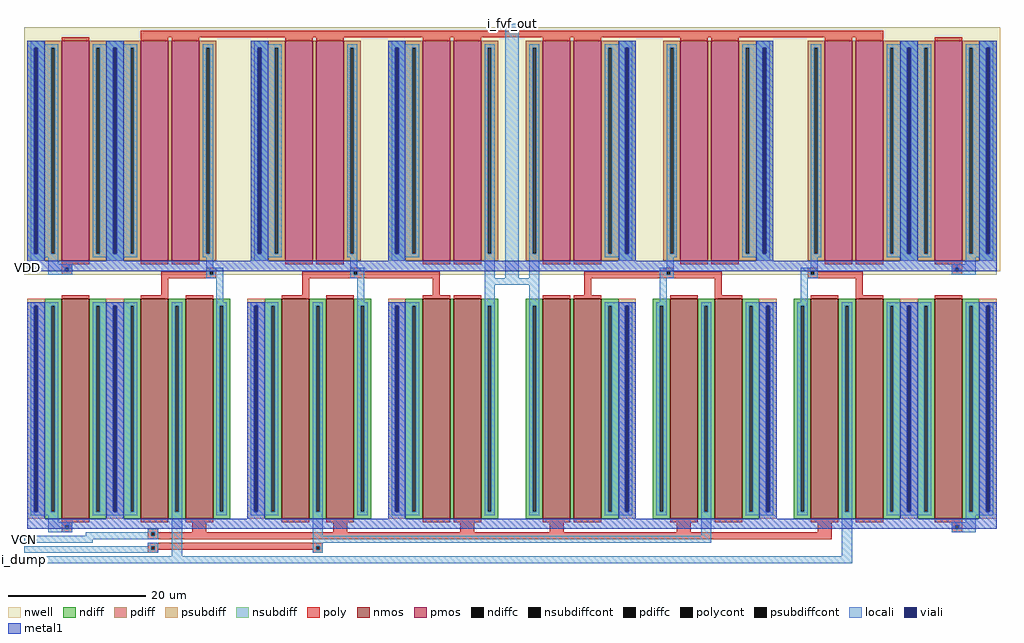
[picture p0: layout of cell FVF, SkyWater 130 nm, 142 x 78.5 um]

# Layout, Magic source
magic
tech sky130A
<< nwell >>
rect -650 -200 13550 3350
rect -650 -250 13500 -200
<< nmos >>
rect -100 -3800 300 -600
rect 1050 -3800 1450 -600
rect 1700 -3800 2100 -600
rect 3100 -3800 3500 -600
rect 3750 -3800 4150 -600
rect 5150 -3800 5550 -600
rect 5600 -3800 6000 -600
rect 6900 -3800 7300 -600
rect 7350 -3800 7750 -600
rect 8750 -3800 9150 -600
rect 9400 -3800 9800 -600
rect 10800 -3800 11200 -600
rect 11450 -3800 11850 -600
rect 12600 -3800 13000 -600
<< pmos >>
rect -100 -50 300 3150
rect 1050 -50 1450 3150
rect 1500 -50 1900 3150
rect 3150 -50 3550 3150
rect 3600 -50 4000 3150
rect 5150 -50 5550 3150
rect 5600 -50 6000 3150
rect 6900 -50 7300 3150
rect 7350 -50 7750 3150
rect 8900 -50 9300 3150
rect 9350 -50 9750 3150
rect 11000 -50 11400 3150
rect 11450 -50 11850 3150
rect 12600 -50 13000 3150
<< ndiff >>
rect -350 -700 -100 -600
rect -350 -3700 -250 -700
rect -200 -3700 -100 -700
rect -350 -3800 -100 -3700
rect 300 -700 550 -600
rect 800 -700 1050 -600
rect 300 -3700 400 -700
rect 450 -3700 550 -700
rect 800 -3700 900 -700
rect 950 -3700 1050 -700
rect 300 -3800 550 -3700
rect 800 -3800 1050 -3700
rect 1450 -700 1700 -600
rect 1450 -3700 1550 -700
rect 1600 -3700 1700 -700
rect 1450 -3800 1700 -3700
rect 2100 -700 2350 -600
rect 2100 -3700 2200 -700
rect 2250 -3700 2350 -700
rect 2100 -3800 2350 -3700
rect 2850 -700 3100 -600
rect 2850 -3700 2950 -700
rect 3000 -3700 3100 -700
rect 2850 -3800 3100 -3700
rect 3500 -700 3750 -600
rect 3500 -3700 3600 -700
rect 3650 -3700 3750 -700
rect 3500 -3800 3750 -3700
rect 4150 -700 4400 -600
rect 4150 -3700 4250 -700
rect 4300 -3700 4400 -700
rect 4150 -3800 4400 -3700
rect 4900 -700 5150 -600
rect 4900 -3700 5000 -700
rect 5050 -3700 5150 -700
rect 4900 -3800 5150 -3700
rect 5550 -3800 5600 -600
rect 6000 -700 6250 -600
rect 6000 -3700 6100 -700
rect 6150 -3700 6250 -700
rect 6000 -3800 6250 -3700
rect 6650 -700 6900 -600
rect 6650 -3700 6750 -700
rect 6800 -3700 6900 -700
rect 6650 -3800 6900 -3700
rect 7300 -3800 7350 -600
rect 7750 -700 8000 -600
rect 7750 -3700 7850 -700
rect 7900 -3700 8000 -700
rect 7750 -3800 8000 -3700
rect 8500 -700 8750 -600
rect 8500 -3700 8600 -700
rect 8650 -3700 8750 -700
rect 8500 -3800 8750 -3700
rect 9150 -700 9400 -600
rect 9150 -3700 9250 -700
rect 9300 -3700 9400 -700
rect 9150 -3800 9400 -3700
rect 9800 -700 10050 -600
rect 9800 -3700 9900 -700
rect 9950 -3700 10050 -700
rect 9800 -3800 10050 -3700
rect 10550 -700 10800 -600
rect 10550 -3700 10650 -700
rect 10700 -3700 10800 -700
rect 10550 -3800 10800 -3700
rect 11200 -700 11450 -600
rect 11200 -3700 11300 -700
rect 11350 -3700 11450 -700
rect 11200 -3800 11450 -3700
rect 11850 -700 12100 -600
rect 12350 -700 12600 -600
rect 11850 -3700 11950 -700
rect 12000 -3700 12100 -700
rect 12350 -3700 12450 -700
rect 12500 -3700 12600 -700
rect 11850 -3800 12100 -3700
rect 12350 -3800 12600 -3700
rect 13000 -700 13250 -600
rect 13000 -3700 13100 -700
rect 13150 -3700 13250 -700
rect 13000 -3800 13250 -3700
<< pdiff >>
rect -350 3050 -100 3150
rect -350 50 -250 3050
rect -200 50 -100 3050
rect -350 -50 -100 50
rect 300 3050 550 3150
rect 800 3050 1050 3150
rect 300 50 400 3050
rect 450 50 550 3050
rect 800 50 900 3050
rect 950 50 1050 3050
rect 300 -50 550 50
rect 800 -50 1050 50
rect 1450 -50 1500 3150
rect 1900 3050 2150 3150
rect 1900 50 2000 3050
rect 2050 50 2150 3050
rect 1900 -50 2150 50
rect 2900 3050 3150 3150
rect 2900 50 3000 3050
rect 3050 50 3150 3050
rect 2900 -50 3150 50
rect 3550 -50 3600 3150
rect 4000 3050 4250 3150
rect 4000 50 4100 3050
rect 4150 50 4250 3050
rect 4000 -50 4250 50
rect 4900 3050 5150 3150
rect 4900 50 5000 3050
rect 5050 50 5150 3050
rect 4900 -50 5150 50
rect 5550 -50 5600 3150
rect 6000 3050 6250 3150
rect 6000 50 6100 3050
rect 6150 50 6250 3050
rect 6000 -50 6250 50
rect 6650 3050 6900 3150
rect 6650 50 6750 3050
rect 6800 50 6900 3050
rect 6650 -50 6900 50
rect 7300 -50 7350 3150
rect 7750 3050 8000 3150
rect 7750 50 7850 3050
rect 7900 50 8000 3050
rect 7750 -50 8000 50
rect 8650 3050 8900 3150
rect 8650 50 8750 3050
rect 8800 50 8900 3050
rect 8650 -50 8900 50
rect 9300 -50 9350 3150
rect 9750 3050 10000 3150
rect 9750 50 9850 3050
rect 9900 50 10000 3050
rect 9750 -50 10000 50
rect 10750 3050 11000 3150
rect 10750 50 10850 3050
rect 10900 50 11000 3050
rect 10750 -50 11000 50
rect 11400 -50 11450 3150
rect 11850 3050 12100 3150
rect 12350 3050 12600 3150
rect 11850 50 11950 3050
rect 12000 50 12100 3050
rect 12350 50 12450 3050
rect 12500 50 12600 3050
rect 11850 -50 12100 50
rect 12350 -50 12600 50
rect 13000 3050 13250 3150
rect 13000 50 13100 3050
rect 13150 50 13250 3050
rect 13000 -50 13250 50
<< ndiffc >>
rect -250 -3700 -200 -700
rect 400 -3700 450 -700
rect 900 -3700 950 -700
rect 1550 -3700 1600 -700
rect 2200 -3700 2250 -700
rect 2950 -3700 3000 -700
rect 3600 -3700 3650 -700
rect 4250 -3700 4300 -700
rect 5000 -3700 5050 -700
rect 6100 -3700 6150 -700
rect 6750 -3700 6800 -700
rect 7850 -3700 7900 -700
rect 8600 -3700 8650 -700
rect 9250 -3700 9300 -700
rect 9900 -3700 9950 -700
rect 10650 -3700 10700 -700
rect 11300 -3700 11350 -700
rect 11950 -3700 12000 -700
rect 12450 -3700 12500 -700
rect 13100 -3700 13150 -700
<< pdiffc >>
rect -250 50 -200 3050
rect 400 50 450 3050
rect 900 50 950 3050
rect 2000 50 2050 3050
rect 3000 50 3050 3050
rect 4100 50 4150 3050
rect 5000 50 5050 3050
rect 6100 50 6150 3050
rect 6750 50 6800 3050
rect 7850 50 7900 3050
rect 8750 50 8800 3050
rect 9850 50 9900 3050
rect 10850 50 10900 3050
rect 11950 50 12000 3050
rect 12450 50 12500 3050
rect 13100 50 13150 3050
<< psubdiff >>
rect -600 -700 -350 -600
rect -600 -3700 -500 -700
rect -450 -3700 -350 -700
rect -600 -3800 -350 -3700
rect 550 -700 800 -600
rect 550 -3700 650 -700
rect 700 -3700 800 -700
rect 550 -3800 800 -3700
rect 2600 -700 2850 -600
rect 2600 -3700 2700 -700
rect 2750 -3700 2850 -700
rect 2600 -3800 2850 -3700
rect 4650 -700 4900 -600
rect 4650 -3700 4750 -700
rect 4800 -3700 4900 -700
rect 4650 -3800 4900 -3700
rect 8000 -700 8250 -600
rect 8000 -3700 8100 -700
rect 8150 -3700 8250 -700
rect 8000 -3800 8250 -3700
rect 10050 -700 10300 -600
rect 10050 -3700 10150 -700
rect 10200 -3700 10300 -700
rect 10050 -3800 10300 -3700
rect 12100 -700 12350 -600
rect 12100 -3700 12200 -700
rect 12250 -3700 12350 -700
rect 12100 -3800 12350 -3700
rect 13250 -700 13500 -600
rect 13250 -3700 13350 -700
rect 13400 -3700 13500 -700
rect 13250 -3800 13500 -3700
<< nsubdiff >>
rect -600 3050 -350 3150
rect -600 50 -500 3050
rect -450 50 -350 3050
rect -600 -50 -350 50
rect 550 3050 800 3150
rect 550 50 650 3050
rect 700 50 800 3050
rect 550 -50 800 50
rect 2650 3050 2900 3150
rect 2650 50 2750 3050
rect 2800 50 2900 3050
rect 2650 -50 2900 50
rect 4650 3050 4900 3150
rect 4650 50 4750 3050
rect 4800 50 4900 3050
rect 4650 -50 4900 50
rect 8000 3050 8250 3150
rect 8000 50 8100 3050
rect 8150 50 8250 3050
rect 8000 -50 8250 50
rect 10000 3050 10250 3150
rect 10000 50 10100 3050
rect 10150 50 10250 3050
rect 10000 -50 10250 50
rect 12100 3050 12350 3150
rect 12100 50 12200 3050
rect 12250 50 12350 3050
rect 12100 -50 12350 50
rect 13250 3050 13500 3150
rect 13250 50 13350 3050
rect 13400 50 13500 3050
rect 13250 -50 13500 50
<< psubdiffcont >>
rect -500 -3700 -450 -700
rect 650 -3700 700 -700
rect 2700 -3700 2750 -700
rect 4750 -3700 4800 -700
rect 8100 -3700 8150 -700
rect 10150 -3700 10200 -700
rect 12200 -3700 12250 -700
rect 13350 -3700 13400 -700
<< nsubdiffcont >>
rect -500 50 -450 3050
rect 650 50 700 3050
rect 2750 50 2800 3050
rect 4750 50 4800 3050
rect 8100 50 8150 3050
rect 10100 50 10150 3050
rect 12200 50 12250 3050
rect 13350 50 13400 3050
<< poly >>
rect 1050 3200 11850 3300
rect -100 3150 300 3200
rect 1050 3150 1450 3200
rect 1500 3150 1900 3200
rect 3150 3150 3550 3200
rect 3600 3150 4000 3200
rect 5150 3150 5550 3200
rect 5600 3150 6000 3200
rect 6900 3150 7300 3200
rect 7350 3150 7750 3200
rect 8900 3150 9300 3200
rect 9350 3150 9750 3200
rect 11000 3150 11400 3200
rect 11450 3150 11850 3200
rect 12600 3150 13000 3200
rect -100 -100 300 -50
rect 1050 -100 1450 -50
rect 1500 -100 1900 -50
rect 3150 -100 3550 -50
rect 3600 -100 4000 -50
rect 5150 -100 5550 -50
rect 5600 -100 6000 -50
rect 6900 -100 7300 -50
rect 7350 -100 7750 -50
rect 8900 -100 9300 -50
rect 9350 -100 9750 -50
rect 11000 -100 11400 -50
rect 11450 -100 11850 -50
rect 12600 -100 13000 -50
rect -100 -150 50 -100
rect 12850 -150 13000 -100
rect -100 -200 -50 -150
rect 0 -200 50 -150
rect 2000 -200 2150 -150
rect 4100 -200 4250 -150
rect 8650 -200 8800 -150
rect 10750 -200 10900 -150
rect 12850 -200 12900 -150
rect 12950 -200 13000 -150
rect -100 -250 50 -200
rect 1350 -250 2050 -200
rect 2100 -250 2150 -200
rect 1350 -300 2150 -250
rect 3400 -250 4150 -200
rect 4200 -250 5400 -200
rect 3400 -300 5400 -250
rect 1350 -550 1450 -300
rect 3400 -550 3500 -300
rect 5300 -550 5400 -300
rect 7500 -250 8700 -200
rect 8750 -250 9500 -200
rect 7500 -300 9500 -250
rect 10750 -250 10800 -200
rect 10850 -250 11550 -200
rect 12850 -250 13000 -200
rect 10750 -300 11550 -250
rect 7500 -550 7600 -300
rect 9400 -550 9500 -300
rect 11450 -550 11550 -300
rect -100 -600 300 -550
rect 1050 -600 1450 -550
rect 1700 -600 2100 -550
rect 3100 -600 3500 -550
rect 3750 -600 4150 -550
rect 5150 -600 5550 -550
rect 5600 -600 6000 -550
rect 6900 -600 7300 -550
rect 7350 -600 7750 -550
rect 8750 -600 9150 -550
rect 9400 -600 9800 -550
rect 10800 -600 11200 -550
rect 11450 -600 11850 -550
rect 12600 -600 13000 -550
rect -100 -3850 300 -3800
rect 1050 -3850 1450 -3800
rect 1700 -3850 2100 -3800
rect 3100 -3850 3500 -3800
rect 3750 -3850 4150 -3800
rect 5150 -3850 5550 -3800
rect 5600 -3850 6000 -3800
rect 6900 -3850 7300 -3800
rect 7350 -3850 7750 -3800
rect 8750 -3850 9150 -3800
rect 9400 -3850 9800 -3800
rect 10800 -3850 11200 -3800
rect 11450 -3850 11850 -3800
rect 12600 -3850 13000 -3800
rect -100 -3900 50 -3850
rect -100 -3950 -50 -3900
rect 0 -3950 50 -3900
rect -100 -4000 50 -3950
rect 1150 -4000 1300 -3950
rect 1800 -4000 2000 -3850
rect 3850 -4000 4050 -3850
rect 5700 -4000 5900 -3850
rect 7000 -4000 7200 -3850
rect 8850 -4000 9050 -3850
rect 10900 -4000 11100 -3850
rect 12850 -3900 13000 -3850
rect 12850 -3950 12900 -3900
rect 12950 -3950 13000 -3900
rect 12850 -4000 13000 -3950
rect 1150 -4050 1200 -4000
rect 1250 -4050 11100 -4000
rect 1150 -4100 11100 -4050
rect 1150 -4200 3700 -4150
rect 1150 -4250 1200 -4200
rect 1250 -4250 3600 -4200
rect 3650 -4250 3700 -4200
rect 1150 -4300 1300 -4250
rect 3550 -4300 3700 -4250
<< polycont >>
rect -50 -200 0 -150
rect 12900 -200 12950 -150
rect 2050 -250 2100 -200
rect 4150 -250 4200 -200
rect 8700 -250 8750 -200
rect 10800 -250 10850 -200
rect -50 -3950 0 -3900
rect 12900 -3950 12950 -3900
rect 1200 -4050 1250 -4000
rect 1200 -4250 1250 -4200
rect 3600 -4250 3650 -4200
<< locali >>
rect -550 3100 -350 3150
rect 550 3100 800 3150
rect 2700 3100 2900 3150
rect 4700 3100 4900 3150
rect -550 3050 -150 3100
rect -550 50 -500 3050
rect -450 50 -250 3050
rect -200 50 -150 3050
rect -550 0 -150 50
rect 350 3050 1000 3100
rect 350 50 400 3050
rect 450 50 650 3050
rect 700 50 900 3050
rect 950 50 1000 3050
rect 350 0 1000 50
rect 1950 3050 2100 3100
rect 1950 50 2000 3050
rect 2050 50 2100 3050
rect 1950 0 2100 50
rect -550 -50 -350 0
rect -300 -100 -150 0
rect 550 -50 800 0
rect -300 -150 50 -100
rect -300 -200 -50 -150
rect 0 -200 50 -150
rect -300 -250 50 -200
rect 2000 -150 2100 0
rect 2700 3050 3100 3100
rect 2700 50 2750 3050
rect 2800 50 3000 3050
rect 3050 50 3100 3050
rect 2700 0 3100 50
rect 4050 3050 4200 3100
rect 4050 50 4100 3050
rect 4150 50 4200 3050
rect 4050 0 4200 50
rect 2700 -50 2900 0
rect 4100 -150 4200 0
rect 4700 3050 5100 3100
rect 4700 50 4750 3050
rect 4800 50 5000 3050
rect 5050 50 5100 3050
rect 4700 0 5100 50
rect 6050 3050 6200 3100
rect 6050 50 6100 3050
rect 6150 50 6200 3050
rect 4700 -50 4900 0
rect 2000 -200 2250 -150
rect 2000 -250 2050 -200
rect 2100 -250 2250 -200
rect 2000 -300 2250 -250
rect 4100 -200 4300 -150
rect 4100 -250 4150 -200
rect 4200 -250 4300 -200
rect 4100 -300 4300 -250
rect 2150 -650 2250 -300
rect 4200 -650 4300 -300
rect 6050 -300 6200 50
rect 6350 -300 6550 3400
rect 8000 3100 8200 3150
rect 10000 3100 10200 3150
rect 12100 3100 12350 3150
rect 13250 3100 13450 3150
rect 6700 3050 6850 3100
rect 6700 50 6750 3050
rect 6800 50 6850 3050
rect 6700 -300 6850 50
rect 7800 3050 8200 3100
rect 7800 50 7850 3050
rect 7900 50 8100 3050
rect 8150 50 8200 3050
rect 7800 0 8200 50
rect 8000 -50 8200 0
rect 8700 3050 8850 3100
rect 8700 50 8750 3050
rect 8800 50 8850 3050
rect 8700 0 8850 50
rect 9800 3050 10200 3100
rect 9800 50 9850 3050
rect 9900 50 10100 3050
rect 10150 50 10200 3050
rect 9800 0 10200 50
rect 8700 -150 8800 0
rect 10000 -50 10200 0
rect 10800 3050 10950 3100
rect 10800 50 10850 3050
rect 10900 50 10950 3050
rect 10800 0 10950 50
rect 11900 3050 12550 3100
rect 11900 50 11950 3050
rect 12000 50 12200 3050
rect 12250 50 12450 3050
rect 12500 50 12550 3050
rect 11900 0 12550 50
rect 13050 3050 13450 3100
rect 13050 50 13100 3050
rect 13150 50 13350 3050
rect 13400 50 13450 3050
rect 13050 0 13450 50
rect 10800 -150 10900 0
rect 12100 -50 12350 0
rect 13050 -100 13200 0
rect 13250 -50 13450 0
rect 6050 -400 6850 -300
rect -550 -700 -150 -650
rect -550 -3700 -500 -700
rect -450 -3700 -250 -700
rect -200 -3700 -150 -700
rect -550 -3750 -150 -3700
rect 350 -700 1000 -650
rect 350 -3700 400 -700
rect 450 -3700 650 -700
rect 700 -3700 900 -700
rect 950 -3700 1000 -700
rect 350 -3750 1000 -3700
rect 1500 -700 1650 -650
rect 1500 -3700 1550 -700
rect 1600 -3700 1650 -700
rect -300 -3850 -150 -3750
rect -300 -3900 50 -3850
rect -300 -3950 -50 -3900
rect 0 -3950 50 -3900
rect -300 -4000 50 -3950
rect 1150 -4000 1300 -3950
rect 250 -4050 1200 -4000
rect 1250 -4050 1300 -4000
rect -650 -4100 1300 -4050
rect -650 -4150 350 -4100
rect 1150 -4200 1300 -4150
rect -650 -4250 1200 -4200
rect 1250 -4250 1300 -4200
rect -650 -4300 1300 -4250
rect 1500 -4350 1650 -3700
rect 2150 -700 2300 -650
rect 2150 -3700 2200 -700
rect 2250 -3700 2300 -700
rect 2150 -3750 2300 -3700
rect 2650 -700 3050 -650
rect 2650 -3700 2700 -700
rect 2750 -3700 2950 -700
rect 3000 -3700 3050 -700
rect 2650 -3750 3050 -3700
rect 3550 -700 3700 -650
rect 3550 -3700 3600 -700
rect 3650 -3700 3700 -700
rect 3550 -4050 3700 -3700
rect 4200 -700 4350 -650
rect 4200 -3700 4250 -700
rect 4300 -3700 4350 -700
rect 4200 -3750 4350 -3700
rect 4700 -700 5100 -650
rect 4700 -3700 4750 -700
rect 4800 -3700 5000 -700
rect 5050 -3700 5100 -700
rect 4700 -3750 5100 -3700
rect 6050 -700 6200 -400
rect 6050 -3700 6100 -700
rect 6150 -3700 6200 -700
rect 6050 -3750 6200 -3700
rect 6700 -700 6850 -400
rect 8600 -200 8800 -150
rect 8600 -250 8700 -200
rect 8750 -250 8800 -200
rect 8600 -300 8800 -250
rect 10650 -200 10900 -150
rect 10650 -250 10800 -200
rect 10850 -250 10900 -200
rect 12850 -150 13200 -100
rect 12850 -200 12900 -150
rect 12950 -200 13200 -150
rect 12850 -250 13200 -200
rect 10650 -300 10900 -250
rect 8600 -650 8700 -300
rect 10650 -650 10750 -300
rect 6700 -3700 6750 -700
rect 6800 -3700 6850 -700
rect 6700 -3750 6850 -3700
rect 7800 -700 8200 -650
rect 7800 -3700 7850 -700
rect 7900 -3700 8100 -700
rect 8150 -3700 8200 -700
rect 7800 -3750 8200 -3700
rect 8550 -700 8700 -650
rect 8550 -3700 8600 -700
rect 8650 -3700 8700 -700
rect 8550 -3750 8700 -3700
rect 9200 -700 9350 -650
rect 9200 -3700 9250 -700
rect 9300 -3700 9350 -700
rect 9200 -4050 9350 -3700
rect 9850 -700 10250 -650
rect 9850 -3700 9900 -700
rect 9950 -3700 10150 -700
rect 10200 -3700 10250 -700
rect 9850 -3750 10250 -3700
rect 10600 -700 10750 -650
rect 10600 -3700 10650 -700
rect 10700 -3700 10750 -700
rect 10600 -3750 10750 -3700
rect 11250 -700 11400 -650
rect 11250 -3700 11300 -700
rect 11350 -3700 11400 -700
rect 3550 -4150 9350 -4050
rect 3550 -4200 3700 -4150
rect 3550 -4250 3600 -4200
rect 3650 -4250 3700 -4200
rect 3550 -4300 3700 -4250
rect 11250 -4350 11400 -3700
rect 11900 -700 12550 -650
rect 11900 -3700 11950 -700
rect 12000 -3700 12200 -700
rect 12250 -3700 12450 -700
rect 12500 -3700 12550 -700
rect 11900 -3750 12550 -3700
rect 13050 -700 13450 -650
rect 13050 -3700 13100 -700
rect 13150 -3700 13350 -700
rect 13400 -3700 13450 -700
rect 13050 -3750 13450 -3700
rect 13050 -3850 13200 -3750
rect 12850 -3900 13200 -3850
rect 12850 -3950 12900 -3900
rect 12950 -3950 13200 -3900
rect 12850 -4000 13200 -3950
rect -650 -4450 11400 -4350
<< viali >>
rect -500 50 -450 3050
rect 650 50 700 3050
rect 2750 50 2800 3050
rect 4750 50 4800 3050
rect 8100 50 8150 3050
rect 10100 50 10150 3050
rect 12200 50 12250 3050
rect 13350 50 13400 3050
rect -500 -3700 -450 -700
rect 650 -3700 700 -700
rect 2700 -3700 2750 -700
rect 4750 -3700 4800 -700
rect 8100 -3700 8150 -700
rect 10150 -3700 10200 -700
rect 12200 -3700 12250 -700
rect 13350 -3700 13400 -700
<< metal1 >>
rect -600 3050 -350 3150
rect -600 50 -500 3050
rect -450 50 -350 3050
rect -600 -50 -350 50
rect 550 3050 800 3150
rect 550 50 650 3050
rect 700 50 800 3050
rect 550 -50 800 50
rect 2650 3050 2900 3150
rect 2650 50 2750 3050
rect 2800 50 2900 3050
rect 2650 -50 2900 50
rect 4650 3050 4900 3150
rect 4650 50 4750 3050
rect 4800 50 4900 3050
rect 4650 -50 4900 50
rect 8000 3050 8250 3150
rect 8000 50 8100 3050
rect 8150 50 8250 3050
rect 8000 -50 8250 50
rect 10000 3050 10250 3150
rect 10000 50 10100 3050
rect 10150 50 10250 3050
rect 10000 -50 10250 50
rect 12100 3050 12350 3150
rect 12100 50 12200 3050
rect 12250 50 12350 3050
rect 12100 -50 12350 50
rect 13250 3050 13500 3150
rect 13250 50 13350 3050
rect 13400 50 13500 3050
rect 13250 -50 13500 50
rect -600 -200 13500 -50
rect -600 -700 -350 -650
rect -600 -3700 -500 -700
rect -450 -3700 -350 -700
rect -600 -3800 -350 -3700
rect 550 -700 800 -650
rect 550 -3700 650 -700
rect 700 -3700 800 -700
rect 550 -3800 800 -3700
rect 2600 -700 2850 -650
rect 2600 -3700 2700 -700
rect 2750 -3700 2850 -700
rect 2600 -3800 2850 -3700
rect 4650 -700 4900 -650
rect 4650 -3700 4750 -700
rect 4800 -3700 4900 -700
rect 4650 -3800 4900 -3700
rect 8000 -700 8250 -650
rect 8000 -3700 8100 -700
rect 8150 -3700 8250 -700
rect 8000 -3800 8250 -3700
rect 10050 -700 10300 -650
rect 10050 -3700 10150 -700
rect 10200 -3700 10300 -700
rect 10050 -3800 10300 -3700
rect 12100 -700 12350 -650
rect 12100 -3700 12200 -700
rect 12250 -3700 12350 -700
rect 12100 -3800 12350 -3700
rect 13250 -700 13500 -650
rect 13250 -3700 13350 -700
rect 13400 -3700 13500 -700
rect 13250 -3800 13500 -3700
rect -600 -3950 13500 -3800
<< labels >>
flabel locali -650 -4100 -650 -4100 0 FreeSans 240 0 0 0 VCN
port 0 nsew
flabel locali 6450 3400 6450 3400 0 FreeSans 240 0 0 0 i_fvf_out
port 3 nsew
flabel metal1 -600 -150 -600 -150 0 FreeSans 240 0 0 0 VDD
flabel metal1 -600 -3900 -600 -3900 0 FreeSans 240 0 0 0 GND
flabel locali -650 -4400 -650 -4400 0 FreeSans 240 0 0 0 i_dump
port 2 nsew
flabel locali -650 -4250 -650 -4250 0 FreeSans 240 0 0 0 i_out
port 1 nsew
<< end >>
